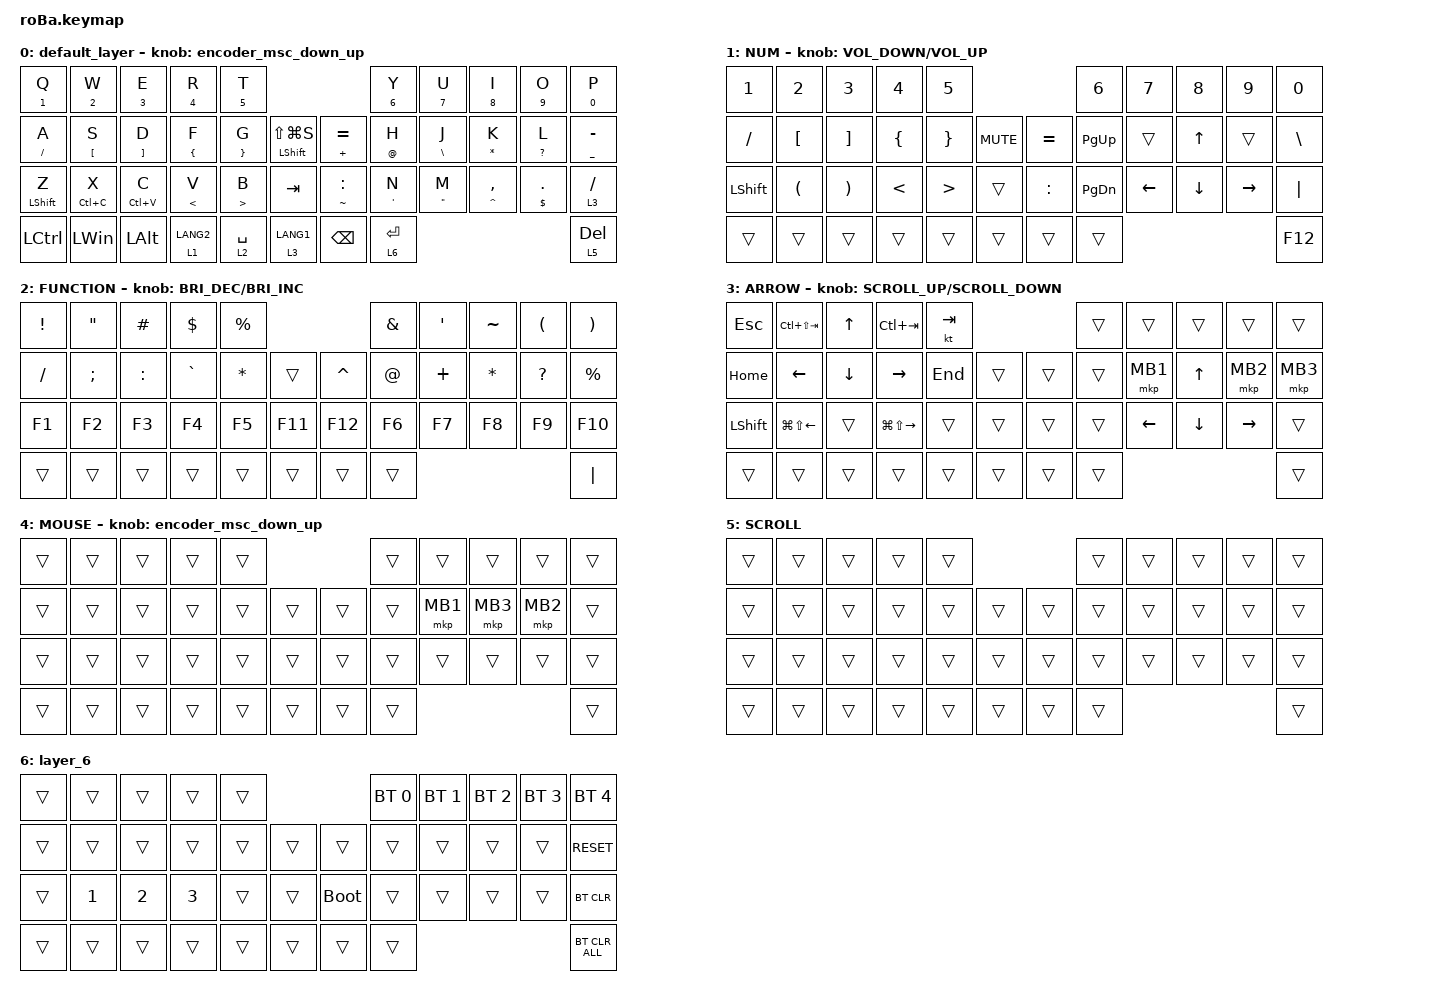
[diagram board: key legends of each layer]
#include <behaviors.dtsi>
#include <dt-bindings/zmk/bt.h>
#include <dt-bindings/zmk/keys.h>
#include <dt-bindings/zmk/pointing.h>

#define MOUSE 4
#define SCROLL 5
#define NUM 6
#define ZMK_POINTING_DEFAULT_SCRL_VAL 80

&mt {
    flavor = "balanced";
    quick-tap-ms = <0>;
};

/ {
    combos {
        compatible = "zmk,combos";

        tab {
            bindings = <&kp TAB>;
            key-positions = <11 12>;
        };

        shift_tab {
            bindings = <&kp LS(TAB)>;
            key-positions = <12 13>;
        };

        muhennkann {
            bindings = <&to_layer_0 INT_MUHENKAN>;
            key-positions = <11 10>;
        };

        double_quotation {
            bindings = <&kp DOUBLE_QUOTES>;
            key-positions = <20 21>;
        };

        eq {
            bindings = <&kp EQUAL>;
            key-positions = <24 25>;
        };
    };

    macros {
        to_layer_0: to_layer_0 {
            compatible = "zmk,behavior-macro-one-param";
            #binding-cells = <1>;
            bindings = <&to 0 &macro_param_1to1 &kp MACRO_PLACEHOLDER>;
            label = "TO_LAYER_0";
        };
    };

    behaviors {
        lt_to_layer_0: lt_to_layer_0 {
            compatible = "zmk,behavior-hold-tap";
            label = "LAYER_TAP_TO_0";
            bindings = <&mo>, <&to_layer_0>;

            #binding-cells = <2>;
            tapping-term-ms = <200>;
        };

        encoder_msc_down_up: encoder_msc_down_up {
            compatible = "zmk,behavior-sensor-rotate";
            label = "ENCODER_MSC_DOWN_UP";
            #sensor-binding-cells = <0>;
            bindings = <&msc SCRL_DOWN>, <&msc SCRL_UP>;

            tap-ms = <20>;
        };
    };

    keymap {
        compatible = "zmk,keymap";

        default_layer {
            bindings = <
&mt NUMBER_1 Q    &mt NUMBER_2 W      &mt NUMBER_3 E       &mt NUMBER_4 R          &mt N5 T                                                           &mt NUMBER_6 Y      &mt N7 U             &mt N8 I         &mt N9 O        &mt N0 P
&mt SLASH A       &mt LEFT_BRACKET S  &mt RIGHT_BRACKET D  &mt LEFT_BRACE F        &mt RIGHT_BRACE G   &mt LEFT_SHIFT LS(LG(S))      &mt PLUS EQUAL   &mt AT_SIGN H       &mt BACKSLASH J      &mt ASTERISK K   &mt QUESTION L  &mt UNDER MINUS
&mt LEFT_SHIFT Z  &mt LC(C) X         &mt LC(V) C          &mt LESS_THAN V         &mt GREATER_THAN B  &kp TAB                       &mt TILDE COLON  &mt SINGLE_QUOTE N  &mt DOUBLE_QUOTES M  &mt CARET COMMA  &mt DOLLAR DOT  &lt 3 SLASH
&kp LCTRL         &kp LEFT_WIN        &kp LEFT_ALT         &lt_to_layer_0 1 LANG2  &lt 2 SPACE         &lt 3 LANG1                   &kp BACKSPACE    &lt 6 ENTER                                                               &lt 5 DELETE
            >;

            sensor-bindings = <&encoder_msc_down_up>;
        };

        NUM {
            bindings = <
&kp NUMBER_1    &kp NUMBER_2          &kp NUMBER_3           &kp NUMBER_4    &kp NUMBER_5                                 &kp NUMBER_6   &kp NUMBER_7  &kp NUMBER_8  &kp NUMBER_9  &kp NUMBER_0
&kp SLASH       &kp LEFT_BRACKET      &kp RIGHT_BRACKET      &kp LEFT_BRACE  &kp RIGHT_BRACE   &kp K_MUTE      &kp EQUAL  &kp PAGE_UP    &trans        &kp UP_ARROW  &trans        &kp BACKSLASH
&kp LEFT_SHIFT  &kp LEFT_PARENTHESIS  &kp RIGHT_PARENTHESIS  &kp LESS_THAN   &kp GREATER_THAN  &trans          &kp COLON  &kp PAGE_DOWN  &kp LEFT      &kp DOWN      &kp RIGHT     &kp PIPE
&trans          &trans                &trans                 &trans          &trans            &trans          &trans     &trans                                                   &kp F12
            >;

            sensor-bindings = <&inc_dec_kp C_VOLUME_DOWN C_VOLUME_UP>;
        };

        FUNCTION {
            bindings = <
&kp EXCLAMATION  &kp DOUBLE_QUOTES  &kp HASH   &kp DOLLAR  &kp PERCENT                           &kp AMPERSAND  &kp APOS  &kp TILDE     &kp LEFT_PARENTHESIS  &kp RIGHT_PARENTHESIS
&kp SLASH        &kp SEMI           &kp COLON  &kp GRAVE   &kp ASTERISK  &trans       &kp CARET  &kp AT_SIGN    &kp PLUS  &kp ASTERISK  &kp QUESTION          &kp PERCENT
&kp F1           &kp F2             &kp F3     &kp F4      &kp F5        &kp F11      &kp F12    &kp F6         &kp F7    &kp F8        &kp F9                &kp F10
&trans           &trans             &trans     &trans      &trans        &trans       &trans     &trans                                                       &kp PIPE
            >;

            sensor-bindings = <&inc_dec_kp C_BRIGHTNESS_DEC C_BRIGHTNESS_INC>;
        };

        ARROW {
            bindings = <
&kp ESCAPE      &kp LC(LS(TAB))         &kp UP_ARROW    &kp LC(TAB)              &kt TAB                      &trans  &trans          &trans          &trans           &trans
&kp HOME        &kp LEFT_ARROW          &kp DOWN_ARROW  &kp RIGHT_ARROW          &kp END  &trans      &trans  &trans  &mkp MB1        &kp UP_ARROW    &mkp MB2         &mkp MB3
&kp LEFT_SHIFT  &kp LG(LS(LEFT_ARROW))  &trans          &kp LG(LS(RIGHT_ARROW))  &trans   &trans      &trans  &trans  &kp LEFT_ARROW  &kp DOWN_ARROW  &kp RIGHT_ARROW  &trans
&trans          &trans                  &trans          &trans                   &trans   &trans      &trans  &trans                                                   &trans
            >;

            sensor-bindings = <&inc_dec_kp K_SCROLL_UP K_SCROLL_DOWN>;
        };

        MOUSE {
            bindings = <
&trans  &trans  &trans  &trans  &trans                      &trans  &trans    &trans    &trans    &trans
&trans  &trans  &trans  &trans  &trans  &trans      &trans  &trans  &mkp MB1  &mkp MB3  &mkp MB2  &trans
&trans  &trans  &trans  &trans  &trans  &trans      &trans  &trans  &trans    &trans    &trans    &trans
&trans  &trans  &trans  &trans  &trans  &trans      &trans  &trans                                &trans
            >;

            sensor-bindings = <&encoder_msc_down_up>;
        };

        SCROLL {
            bindings = <
&trans  &trans  &trans  &trans  &trans                      &trans  &trans  &trans  &trans  &trans
&trans  &trans  &trans  &trans  &trans  &trans      &trans  &trans  &trans  &trans  &trans  &trans
&trans  &trans  &trans  &trans  &trans  &trans      &trans  &trans  &trans  &trans  &trans  &trans
&trans  &trans  &trans  &trans  &trans  &trans      &trans  &trans                          &trans
            >;
        };

        layer_6 {
            bindings = <
&trans  &trans        &trans        &trans        &trans                           &bt BT_SEL 0  &bt BT_SEL 1  &bt BT_SEL 2  &bt BT_SEL 3  &bt BT_SEL 4
&trans  &trans        &trans        &trans        &trans  &trans      &trans       &trans        &trans        &trans        &trans        &kp C_RESET
&trans  &kp NUMBER_1  &kp NUMBER_2  &kp NUMBER_3  &trans  &trans      &bootloader  &trans        &trans        &trans        &trans        &bt BT_CLR
&trans  &trans        &trans        &trans        &trans  &trans      &trans       &trans                                                  &bt BT_CLR_ALL
            >;
        };
    };
};
